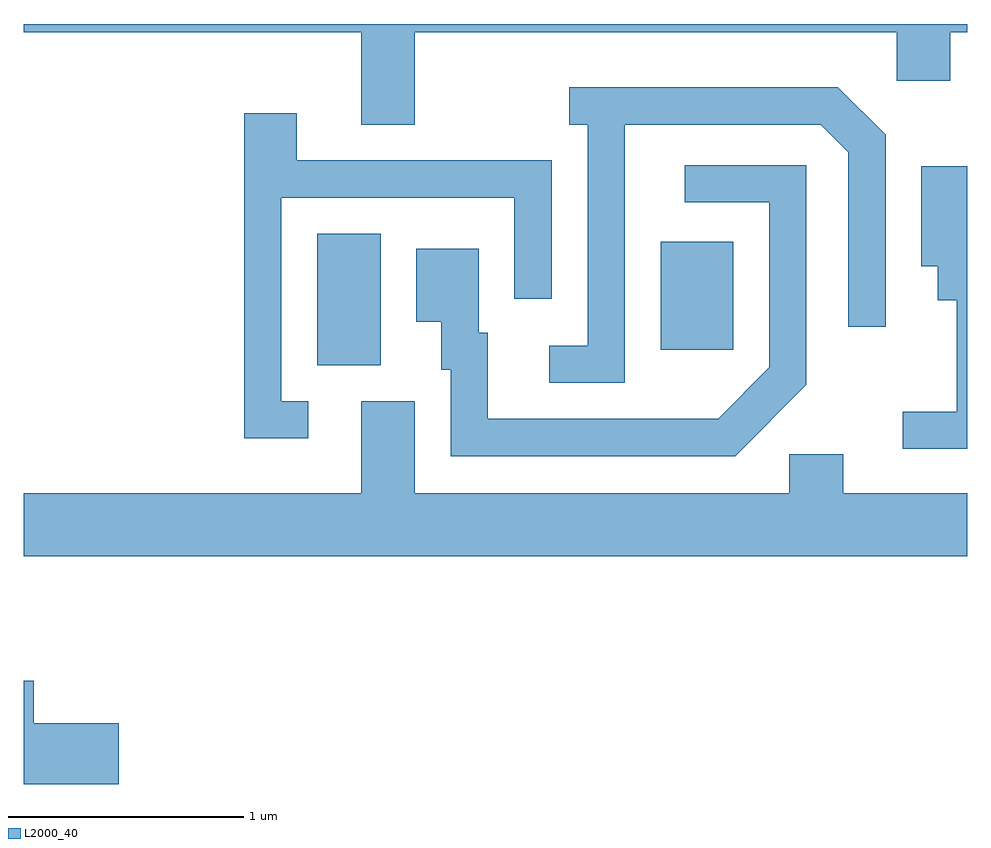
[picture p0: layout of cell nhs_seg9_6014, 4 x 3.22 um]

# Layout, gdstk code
import gdstk
lib = gdstk.Library(unit=1e-6, precision=1e-09)
def R(c, l, rs):  # rectangles x0, y0, x1, y1
    for r in rs: c.add(gdstk.rectangle(r[:2], r[2:], *l))
def P(c, l, *ps):  # polygons
    for p in ps: c.add(gdstk.Polygon(p, *l))
L2000_40 = (2000, 40)

nhs_seg9_6014 = lib.new_cell('nhs_seg9_6014')
R(nhs_seg9_6014, L2000_40, [(362.856,2076.986,363.124,2077.544), (364.311,2077.051,364.619,2077.509)])
P(nhs_seg9_6014, L2000_40, [(363.269,2078.396),(365.311,2078.396),(365.311,2078.191),(365.539,2078.191),(365.539,2078.396),(365.611,2078.396),(365.611,2078.432),(361.611,2078.432),(361.611,2078.396),(363.041,2078.396),(363.041,2078.006),(363.269,2078.006)],
  [(364.159,2078.006),(364.989,2078.006),(365.106,2077.889),(365.106,2077.148),(365.264,2077.148),(365.264,2077.962),(365.062,2078.164),(363.923,2078.164),(363.923,2078.006),(364.001,2078.006),(364.001,2077.069),(363.838,2077.069),(363.838,2076.911),(364.159,2076.911)],
  [(362.818,2076.834),(362.704,2076.834),(362.704,2077.696),(363.691,2077.696),(363.691,2077.268),(363.849,2077.268),(363.849,2077.854),(362.769,2077.854),(362.769,2078.054),(362.546,2078.054),(362.546,2076.676),(362.818,2076.676)],
  [(364.929,2076.904),(364.929,2077.834),(364.413,2077.834),(364.413,2077.676),(364.771,2077.676),(364.771,2076.977),(364.554,2076.759),(363.579,2076.759),(363.579,2077.124),(363.539,2077.124),(363.539,2077.479),(363.276,2077.479),(363.276,2077.171),(363.381,2077.171),(363.381,2076.966),(363.421,2076.966),(363.421,2076.601),(364.627,2076.601)],
  [(365.611,2077.829),(365.416,2077.829),(365.416,2077.406),(365.486,2077.406),(365.486,2077.261),(365.566,2077.261),(365.566,2076.789),(365.338,2076.789),(365.338,2076.631),(365.611,2076.631)],
  [(365.611,2076.444),(365.084,2076.444),(365.084,2076.609),(364.856,2076.609),(364.856,2076.444),(363.269,2076.444),(363.269,2076.834),(363.041,2076.834),(363.041,2076.444),(361.611,2076.444),(361.611,2076.176),(365.611,2076.176)],
  [(362.014,2075.469),(361.654,2075.469),(361.654,2075.649),(361.611,2075.649),(361.611,2075.211),(362.014,2075.211)])

lib.write_gds('nhs_seg9_6014.gds')
